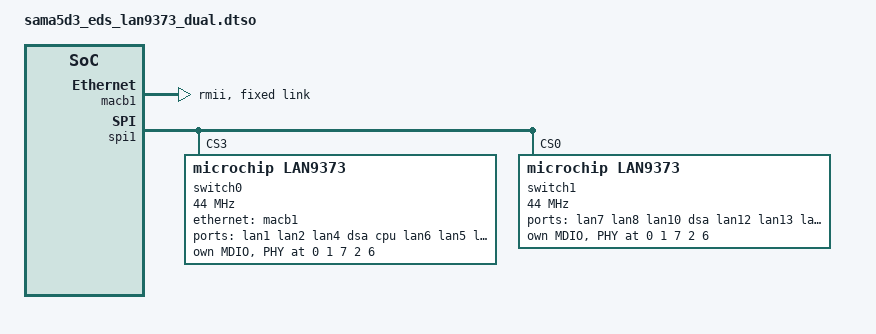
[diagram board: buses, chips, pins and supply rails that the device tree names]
// SPDX-License-Identifier: (GPL-2.0+ OR MIT)
/*
 * sama5d3_eds_lan9373_dual.dtso - Device Tree file for SAMA5D3 EDS board
 * overlay blob for the LAN9370 RMII addon board.
 *
 * Copyright (C) 2022 Microchip Technology, Inc. and its subsidiaries
 * Author:	 2022 Rakesh S <rakesh.sankaranarayanan@microchip.com>
 *
 * 16-Port 100BASE-T1 Gigabit Ethernet Switch
 * https://www.microchip.com/en-us/development-tool/EV64C55A
 *
 */
/dts-v1/;
/plugin/;

#include "dt-bindings/interrupt-controller/irq.h"
#include "dt-bindings/pinctrl/at91.h"

&macb0 {
	status = "disabled";
};

&macb1 {
	phy-mode = "rmii";
	status = "okay";

	fixed-link {
		speed = <100>;
		full-duplex;
	};
};

&spi1 {
	#address-cells = <1>;
	#size-cells = <0>;
	status = "okay";

	switch0: switch0@3 {
		compatible = "microchip,lan9373";
		reg = <3>;
		spi-max-frequency = <44000000>;
		//interrupt-parent = <&pioB>;
		//interrupts = <28 IRQ_TYPE_LEVEL_LOW>;

		led-t1-sel = <07324017777>;

		dsa,member = <0 0>;
		status = "okay";

		ports {
			#address-cells = <1>;
			#size-cells = <0>;
			port@0 {
				reg = <0>;
				phy-handle = <&s0phy0>;
				phy-mode = "internal";
				label = "lan1";
			};
			port@1 {
				reg = <1>;
				phy-handle = <&s0phy1>;
				phy-mode = "internal";
				label = "lan2";
			};
			port@2 {
				reg = <2>;
				phy-handle = <&s0phy3>;
				phy-mode = "internal";
				label = "lan4";
			};
			switch0port2:port@3 {
				reg = <3>;
				phy-mode = "sgmii";
				label = "dsa";
				link = <&switch1port2>;
				fixed-link {
					speed = <1000>;
					full-duplex;
				};
			};
			port@4 {
				reg = <4>;
				label = "cpu";
				ethernet = <&macb1>;
				phy-mode = "rmii";
				fixed-link {
					speed = <100>;
					full-duplex;
				};
			};
			port@5 {
				reg = <5>;
				phy-mode = "mii";
				label = "lan6";
				fixed-link {
					speed = <100>;
					full-duplex;
				};
			};
			port@6 {
				reg = <6>;
				phy-handle = <&s0phy4>;
				phy-mode = "internal";
				label = "lan5";
			};
			port@7 {
				reg = <7>;
				phy-handle = <&s0phy2>;
				phy-mode = "internal";
				label = "lan3";
			};
		};
		mdio {
			#address-cells = <1>;
			#size-cells = <0>;
			compatible = "microchip,lan937x-mdio";

			s0phy0: ethernet-phy@0{
				reg = <0x0>;
			};
			s0phy1: ethernet-phy@1{
				reg = <0x1>;
			};
			s0phy2: ethernet-phy@7{
				reg = <0x7>;
			};
			s0phy3: ethernet-phy@2{
				reg = <0x2>;
			};
			s0phy4: ethernet-phy@6{
				reg = <0x6>;
			};
		};
	};

	switch1: switch1@0 {
		compatible = "microchip,lan9373";
		reg = <0>;
		spi-max-frequency = <44000000>;
		//interrupt-parent = <&pioB>;
		//interrupts = <28 IRQ_TYPE_LEVEL_LOW>;

		led-t1-sel = <02347017777>;

		dsa,member = <0 1>;
		status = "okay";

		ports {
			#address-cells = <1>;
			#size-cells = <0>;
			port@0 {
				reg = <0>;
				phy-handle = <&s1phy0>;
				phy-mode = "internal";
				label = "lan7";
			};
			port@1 {
				reg = <1>;
				phy-handle = <&s1phy1>;
				phy-mode = "internal";
				label = "lan8";
			};
			port@2 {
				reg = <2>;
				phy-handle = <&s1phy3>;
				phy-mode = "internal";
				label = "lan10";
			};
			switch1port2:port@3 {
				reg = <3>;
				phy-mode = "sgmii";
				label = "dsa";
				link = <&switch0port2>;
				fixed-link {
					speed = <1000>;
					full-duplex;
				};
			};
			port@4 {
				reg = <4>;
				phy-mode = "rmii";
				label = "lan12";
				status = "okay";
				fixed-link {
					speed = <100>;
					full-duplex;
				};
			};
			port@5 {
				reg = <5>;
				phy-mode = "rgmii-id";
				label = "lan13";
				fixed-link {
					speed = <1000>;
					full-duplex;
				};
			};
			port@6 {
				reg = <6>;
				phy-handle = <&s1phy4>;
				phy-mode = "internal";
				label = "lan11";
			};
			port@7 {
				reg = <7>;
				phy-handle=<&s1phy2>;
				phy-mode = "internal";
				label = "lan9";
			};
		};
		mdio {
			#address-cells = <1>;
			#size-cells = <0>;
			compatible = "microchip,lan937x-mdio";

			s1phy0: ethernet-phy@0{
				reg = <0x0>;
			};
			s1phy1: ethernet-phy@1{
				reg = <0x1>;
			};
			s1phy2: ethernet-phy@7{
				reg = <0x7>;
			};
			s1phy3: ethernet-phy@2{
				reg = <0x2>;
			};
			s1phy4: ethernet-phy@6{
				reg = <0x6>;
			};
		};
	};
};

&{/} {
	model = "SAMA5D3-EDS: LAN9373-Dual";
};
